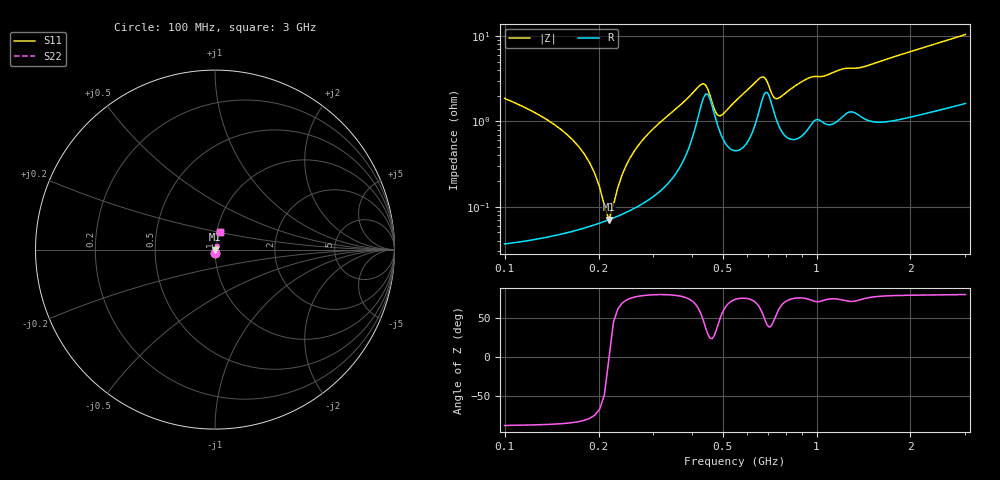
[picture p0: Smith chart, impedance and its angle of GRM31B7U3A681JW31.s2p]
!Murata Part Number: GRM31B7U3A681JW31
!These Parameters are Measured in Series Mode Connection
!Data Generated on Mar 30, 2021
!  o--ll--o
!Port1  Port2
!  o------o
!Operation Temp=25[degC], DC Bias Voltage=0[V]
!Freq. Start=100[MHz] Stop=3[GHz] 401[Steps]
# Hz S RI R 50
!Freq.(Hz) S11(Real) S11(Imag) S21(Real) S21(Imag) S12(Real) S12(Imag) S22(Real) S22(Imag)
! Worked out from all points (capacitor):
!   401 points, 100 MHz to 3 GHz, reference 50 ohm
!   read as one part in series: C = 671 pF near 114.5 MHz
!   lowest |Z| = 70.4 mohm at 216 MHz (marker M1)
!   series resonance near 216.2 MHz, so ESL is about 810 pH
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1e8  0.000711 -0.0185  0.9993 0.0185  0.9993 0.0185  0.000711 -0.0185
1.29e8  0.000562 -0.0118  0.9994 0.0118  0.9994 0.0118  0.000562 -0.0118
1.6525e8  0.000552 -0.00603  0.9994 0.00603  0.9994 0.00603  0.000552 -0.00603
1.87e8  0.000597 -0.00326  0.9994 0.00326  0.9994 0.00326  0.000597 -0.00326
2.015e8  0.000644 -0.00159  0.9994 0.00159  0.9994 0.00159  0.000644 -0.00159
2.16e8  0.000704 -2.03e-05  0.9993 2.03e-05  0.9993 2.03e-05  0.000704 -2.03e-05
2.305e8  0.000777 0.00147  0.9992 -0.00147  0.9992 -0.00147  0.000777 0.00147
2.5225e8  0.000914 0.00359  0.9991 -0.00359  0.9991 -0.00359  0.000914 0.00359
2.8125e8  0.00116 0.00633  0.9988 -0.00633  0.9988 -0.00633  0.00116 0.00633
4.1175e8  0.00971 0.0217  0.9903 -0.0217  0.9903 -0.0217  0.00971 0.0217
4.4075e8  0.0207 0.0158  0.9793 -0.0158  0.9793 -0.0158  0.0207 0.0158
4.77e8  0.0101 0.00693  0.9899 -0.00693  0.9899 -0.00693  0.0101 0.00693
4.915e8  0.00735 0.0089  0.9927 -0.0089  0.9927 -0.0089  0.00735 0.0089
5.8575e8  0.00549 0.0206  0.9945 -0.0206  0.9945 -0.0206  0.00549 0.0206
6.655e8  0.0171 0.0274  0.9829 -0.0274  0.9829 -0.0274  0.0171 0.0274
7.4525e8  0.0103 0.015  0.9897 -0.015  0.9897 -0.015  0.0103 0.015
9.3375e8  0.00875 0.0301  0.9913 -0.0301  0.9913 -0.0301  0.00875 0.0301
1.0715e9  0.0103 0.0325  0.9897 -0.0325  0.9897 -0.0325  0.0103 0.0325
1.55e9  0.0119 0.0464  0.9881 -0.0464  0.9881 -0.0464  0.0119 0.0464
2.03575e9  0.0154 0.0641  0.9846 -0.0641  0.9846 -0.0641  0.0154 0.0641
2.5215e9  0.0202 0.0809  0.9798 -0.0809  0.9798 -0.0809  0.0202 0.0809
3e9  0.0259 0.0984  0.9741 -0.0984  0.9741 -0.0984  0.0259 0.0984
